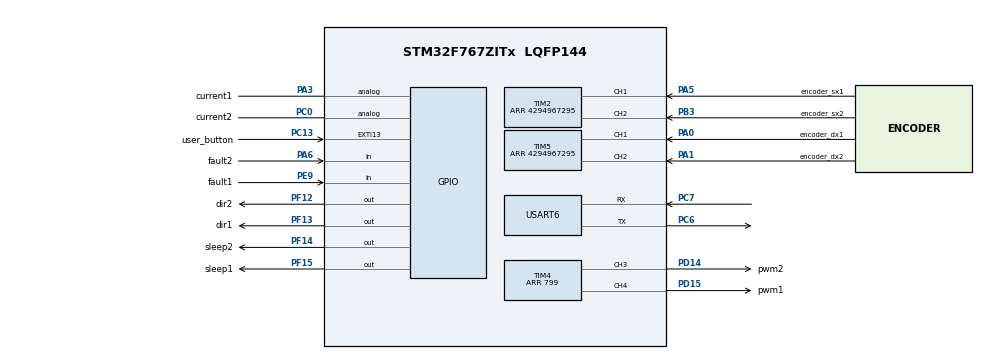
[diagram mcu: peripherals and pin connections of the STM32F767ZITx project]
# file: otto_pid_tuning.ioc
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Mcu.Family=STM32F7
Mcu.Name=STM32F767ZITx
Mcu.Package=LQFP144
NVIC.EXTI15_10_IRQn=true\:0\:0\:false\:false\:true\:true\:true
NVIC.PriorityGroup=NVIC_PRIORITYGROUP_2
NVIC.TIM3_IRQn=true\:2\:1\:true\:true\:true\:1\:true\:true
NVIC.TIM6_DAC_IRQn=true\:2\:2\:true\:true\:true\:2\:true\:true
NVIC.USART6_IRQn=true\:2\:0\:true\:true\:true\:3\:true\:true
PA0/WKUP.GPIO_Label=encoder_dx1
PA0/WKUP.Signal=S_TIM5_CH1
PA1.GPIO_Label=encoder_dx2
PA1.Signal=S_TIM5_CH2
PA13.Mode=Serial_Wire
PA13.Signal=SYS_JTMS-SWDIO
PA14.Mode=Serial_Wire
PA14.Signal=SYS_JTCK-SWCLK
PA3.GPIO_Label=current1
PA3.Signal=GPIO_Analog
PA5.GPIO_Label=encoder_sx1
PA5.Signal=S_TIM2_CH1_ETR
PA6.GPIO_Label=fault2
PA6.Signal=GPIO_Input
PB3.GPIO_Label=encoder_sx2
PB3.Signal=S_TIM2_CH2
PC0.GPIO_Label=current2
PC0.Signal=GPIO_Analog
PC13.GPIO_Label=user_button
PC13.Signal=GPXTI13
PC6.Mode=Asynchronous
PC6.Signal=USART6_TX
PC7.Mode=Asynchronous
PC7.Signal=USART6_RX
PD14.GPIO_Label=pwm2
PD14.Signal=S_TIM4_CH3
PD15.GPIO_Label=pwm1
PD15.Signal=S_TIM4_CH4
PE9.GPIO_Label=fault1
PE9.Signal=GPIO_Input
PF12.GPIO_Label=dir2
PF12.Signal=GPIO_Output
PF13.GPIO_Label=dir1
PF13.Signal=GPIO_Output
PF14.GPIO_Label=sleep2
PF14.GPIO_ModeDefaultOutputPP=GPIO_MODE_OUTPUT_PP
PF14.GPIO_PuPd=GPIO_PULLUP
PF14.PinState=GPIO_PIN_SET
PF14.Signal=GPIO_Output
PF15.GPIO_Label=sleep1
PF15.GPIO_PuPd=GPIO_PULLUP
PF15.PinState=GPIO_PIN_SET
PF15.Signal=GPIO_Output
ProjectManager.HeapSize=0x200
ProjectManager.StackSize=0x400
ProjectManager.TargetToolchain=STM32CubeIDE
RCC.HSE_VALUE=25000000
RCC.HSI_VALUE=16000000
RCC.LSE_VALUE=32768
RCC.USBFreq_Value=96000000
RCC.VCOOutputFreq_Value=192000000
SH.S_TIM2_CH1_ETR.0=TIM2_CH1,Encoder_Interface
SH.S_TIM2_CH2.0=TIM2_CH2,Encoder_Interface
SH.S_TIM4_CH3.0=TIM4_CH3,PWM Generation3 CH3
SH.S_TIM4_CH4.0=TIM4_CH4,PWM Generation4 CH4
SH.S_TIM5_CH1.0=TIM5_CH1,Encoder_Interface
SH.S_TIM5_CH2.0=TIM5_CH2,Encoder_Interface
TIM2.EncoderMode=TIM_ENCODERMODE_TI12
TIM2.Period=4294967295
TIM3.Period=159
TIM3.Prescaler=999
TIM4.Channel-PWM\ Generation3\ CH3=TIM_CHANNEL_3
TIM4.Channel-PWM\ Generation4\ CH4=TIM_CHANNEL_4
TIM4.Period=799
TIM5.EncoderMode=TIM_ENCODERMODE_TI12
TIM5.Period=4294967295
TIM6.Period=799
TIM6.Prescaler=9999
USART6.Parity=PARITY_NONE
USART6.VirtualMode-Asynchronous=VM_ASYNC
USART6.WordLength=WORDLENGTH_8B
VP_TIM3_VS_ClockSourceINT.Mode=Internal
VP_TIM4_VS_ClockSourceINT.Mode=Internal
VP_TIM6_VS_ClockSourceINT.Mode=Enable_Timer
board=custom

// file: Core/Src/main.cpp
/* USER CODE BEGIN Header */
/**
 ******************************************************************************
 * @file           : main.c
 * @brief          : Main program body
 ******************************************************************************
 * @attention
 *
 * <h2><center>&copy; Copyright (c) 2019 STMicroelectronics.
 * All rights reserved.</center></h2>
 *
 * This software component is licensed by ST under BSD 3-Clause license,
 * the "License"; You may not use this file except in compliance with the
 * License. You may obtain a copy of the License at:
 *                        opensource.org/licenses/BSD-3-Clause
 *
 ******************************************************************************
 */
/* USER CODE END Header */

#include "main.h"

/* USER CODE BEGIN Includes */

#include "encoder.h"
#include "odometry.h"
#include "motor_controller.h"
#include "pid.h"
#include "communication_utils.h"
#include "constants.h"
/* USER CODE END Includes */

TIM_HandleTypeDef htim2;
TIM_HandleTypeDef htim3;
TIM_HandleTypeDef htim4;
TIM_HandleTypeDef htim5;
TIM_HandleTypeDef htim6;

UART_HandleTypeDef huart6;

/* USER CODE BEGIN PV */

//Parameters
float baseline = 0.3;
int ticks_per_revolution = 148000;  //x4 resolution
float right_wheel_circumference = 0.783;  //in meters
float left_wheel_circumference = 0.789;  //in meters

//Odometry
Encoder right_encoder = Encoder(&htim5, right_wheel_circumference,
                                ticks_per_revolution);
Encoder left_encoder = Encoder(&htim2, left_wheel_circumference,
                               ticks_per_revolution);
Odometry odom = Odometry(baseline);
float left_velocity = 0;
float right_velocity = 0;

//PID
int pid_min = 0;
int pid_max = 0;

Pid left_pid(0, 0, 0, pid_min, pid_max);
Pid right_pid(0, 0, 0, pid_min, pid_max);
Pid cross_pid(0, 0, 0, pid_min, pid_max);
float left_setpoint;
float right_setpoint;
float cross_setpoint;
int left_dutycycle;
int right_dutycycle;

//MotorController
MotorController right_motor(sleep1_GPIO_Port,
sleep1_Pin,
                            dir1_GPIO_Port,
                            dir1_Pin,
                            &htim4, TIM_CHANNEL_4);
MotorController left_motor(sleep2_GPIO_Port,
sleep2_Pin,
                           dir2_GPIO_Port,
                           dir2_Pin,
                           &htim4, TIM_CHANNEL_3);

//Communication
uint8_t *tx_buffer;
uint8_t *rx_buffer;
pid_setup_msg input_msg;
plot_msg output_msg;

//user button variables
int previous_millis = 0;
int current_millis = 0;
bool debounce = true;

//test stuff
float mode = 0;  //0 for setup, 1 left pid, 2 right pid, 3 cross pid, 4 stop

/* USER CODE END PV */

void SystemClock_Config(void);
static void MX_GPIO_Init(void);
static void MX_TIM2_Init(void);
static void MX_TIM3_Init(void);
static void MX_TIM4_Init(void);
static void MX_TIM5_Init(void);
static void MX_USART6_UART_Init(void);
static void MX_TIM6_Init(void);
static void MX_NVIC_Init(void);

int main(void) {

  /* MCU Configuration--------------------------------------------------------*/

  /* Reset of all peripherals, Initializes the Flash interface and the Systick. */
  HAL_Init();

  /* Configure the system clock */
  SystemClock_Config();

  /* Initialize all configured peripherals */
  MX_GPIO_Init();
  MX_TIM2_Init();
  MX_TIM3_Init();
  MX_TIM4_Init();
  MX_TIM5_Init();
  MX_USART6_UART_Init();
  MX_TIM6_Init();

  /* Initialize interrupts */
  MX_NVIC_Init();
  /* USER CODE BEGIN 2 */

  left_encoder.Setup();
  right_encoder.Setup();

  left_motor.setup();
  right_motor.setup();

  //right and left motors have the same parameters
  pid_min = - left_motor.max_dutycycle_;
  pid_max = left_motor.max_dutycycle_;

  left_motor.coast();
  right_motor.coast();

  tx_buffer = (uint8_t*) &output_msg;
  rx_buffer = (uint8_t*) &input_msg;

  //Enables UART RX interrupt
  HAL_UART_Receive_IT(&huart6, rx_buffer, 28);

  /* USER CODE END 2 */

  /* Infinite loop */
  while (1) {

  }
}

void SystemClock_Config(void) {
  RCC_OscInitTypeDef RCC_OscInitStruct = { 0 };
  RCC_ClkInitTypeDef RCC_ClkInitStruct = { 0 };
  RCC_PeriphCLKInitTypeDef PeriphClkInitStruct = { 0 };

  /** Configure the main internal regulator output voltage
   */
  __HAL_RCC_PWR_CLK_ENABLE();
  __HAL_PWR_VOLTAGESCALING_CONFIG(PWR_REGULATOR_VOLTAGE_SCALE3);/** Initializes the CPU, AHB and APB busses clocks
   */
  RCC_OscInitStruct.OscillatorType = RCC_OSCILLATORTYPE_HSI;
  RCC_OscInitStruct.HSIState = RCC_HSI_ON;
  RCC_OscInitStruct.HSICalibrationValue = RCC_HSICALIBRATION_DEFAULT;
  RCC_OscInitStruct.PLL.PLLState = RCC_PLL_NONE;
  if (HAL_RCC_OscConfig(&RCC_OscInitStruct) != HAL_OK) {
    Error_Handler();
  }
  /** Initializes the CPU, AHB and APB busses clocks
   */
  RCC_ClkInitStruct.ClockType = RCC_CLOCKTYPE_HCLK | RCC_CLOCKTYPE_SYSCLK
      | RCC_CLOCKTYPE_PCLK1 | RCC_CLOCKTYPE_PCLK2;
  RCC_ClkInitStruct.SYSCLKSource = RCC_SYSCLKSOURCE_HSI;
  RCC_ClkInitStruct.AHBCLKDivider = RCC_SYSCLK_DIV1;
  RCC_ClkInitStruct.APB1CLKDivider = RCC_HCLK_DIV1;
  RCC_ClkInitStruct.APB2CLKDivider = RCC_HCLK_DIV1;

  if (HAL_RCC_ClockConfig(&RCC_ClkInitStruct, FLASH_LATENCY_0) != HAL_OK) {
    Error_Handler();
  }
  PeriphClkInitStruct.PeriphClockSelection = RCC_PERIPHCLK_USART6;
  PeriphClkInitStruct.Usart6ClockSelection = RCC_USART6CLKSOURCE_PCLK2;
  if (HAL_RCCEx_PeriphCLKConfig(&PeriphClkInitStruct) != HAL_OK) {
    Error_Handler();
  }
}

/**
 * @brief NVIC Configuration.
 * @retval None
 */
static void MX_NVIC_Init(void) {
  /* TIM3_IRQn interrupt configuration */
  HAL_NVIC_SetPriority(TIM3_IRQn, 2, 1);
  HAL_NVIC_EnableIRQ (TIM3_IRQn);
  /* TIM6_DAC_IRQn interrupt configuration */
  HAL_NVIC_SetPriority(TIM6_DAC_IRQn, 2, 2);
  HAL_NVIC_EnableIRQ (TIM6_DAC_IRQn);
  /* USART6_IRQn interrupt configuration */
  HAL_NVIC_SetPriority(USART6_IRQn, 2, 0);
  HAL_NVIC_EnableIRQ (USART6_IRQn);
}

static void MX_TIM2_Init(void) {

  TIM_Encoder_InitTypeDef sConfig = { 0 };
  TIM_MasterConfigTypeDef sMasterConfig = { 0 };

  htim2.Instance = TIM2;
  htim2.Init.Prescaler = 0;
  htim2.Init.CounterMode = TIM_COUNTERMODE_UP;
  htim2.Init.Period = 4294967295;
  htim2.Init.ClockDivision = TIM_CLOCKDIVISION_DIV1;
  htim2.Init.AutoReloadPreload = TIM_AUTORELOAD_PRELOAD_DISABLE;
  sConfig.EncoderMode = TIM_ENCODERMODE_TI12;
  sConfig.IC1Polarity = TIM_ICPOLARITY_RISING;
  sConfig.IC1Selection = TIM_ICSELECTION_DIRECTTI;
  sConfig.IC1Prescaler = TIM_ICPSC_DIV1;
  sConfig.IC1Filter = 0;
  sConfig.IC2Polarity = TIM_ICPOLARITY_RISING;
  sConfig.IC2Selection = TIM_ICSELECTION_DIRECTTI;
  sConfig.IC2Prescaler = TIM_ICPSC_DIV1;
  sConfig.IC2Filter = 0;
  if (HAL_TIM_Encoder_Init(&htim2, &sConfig) != HAL_OK) {
    Error_Handler();
  }
  sMasterConfig.MasterOutputTrigger = TIM_TRGO_RESET;
  sMasterConfig.MasterSlaveMode = TIM_MASTERSLAVEMODE_DISABLE;
  if (HAL_TIMEx_MasterConfigSynchronization(&htim2, &sMasterConfig) != HAL_OK) {
    Error_Handler();
  }

}

static void MX_TIM3_Init(void) {

  TIM_ClockConfigTypeDef sClockSourceConfig = { 0 };
  TIM_MasterConfigTypeDef sMasterConfig = { 0 };

  htim3.Instance = TIM3;
  htim3.Init.Prescaler = 999;
  htim3.Init.CounterMode = TIM_COUNTERMODE_UP;
  htim3.Init.Period = 159;
  htim3.Init.ClockDivision = TIM_CLOCKDIVISION_DIV1;
  htim3.Init.AutoReloadPreload = TIM_AUTORELOAD_PRELOAD_DISABLE;
  if (HAL_TIM_Base_Init(&htim3) != HAL_OK) {
    Error_Handler();
  }
  sClockSourceConfig.ClockSource = TIM_CLOCKSOURCE_INTERNAL;
  if (HAL_TIM_ConfigClockSource(&htim3, &sClockSourceConfig) != HAL_OK) {
    Error_Handler();
  }
  sMasterConfig.MasterOutputTrigger = TIM_TRGO_RESET;
  sMasterConfig.MasterSlaveMode = TIM_MASTERSLAVEMODE_DISABLE;
  if (HAL_TIMEx_MasterConfigSynchronization(&htim3, &sMasterConfig) != HAL_OK) {
    Error_Handler();
  }

}

static void MX_TIM4_Init(void) {

  TIM_ClockConfigTypeDef sClockSourceConfig = { 0 };
  TIM_MasterConfigTypeDef sMasterConfig = { 0 };
  TIM_OC_InitTypeDef sConfigOC = { 0 };

  htim4.Instance = TIM4;
  htim4.Init.Prescaler = 0;
  htim4.Init.CounterMode = TIM_COUNTERMODE_UP;
  htim4.Init.Period = 799;
  htim4.Init.ClockDivision = TIM_CLOCKDIVISION_DIV1;
  htim4.Init.AutoReloadPreload = TIM_AUTORELOAD_PRELOAD_DISABLE;
  if (HAL_TIM_Base_Init(&htim4) != HAL_OK) {
    Error_Handler();
  }
  sClockSourceConfig.ClockSource = TIM_CLOCKSOURCE_INTERNAL;
  if (HAL_TIM_ConfigClockSource(&htim4, &sClockSourceConfig) != HAL_OK) {
    Error_Handler();
  }
  if (HAL_TIM_PWM_Init(&htim4) != HAL_OK) {
    Error_Handler();
  }
  sMasterConfig.MasterOutputTrigger = TIM_TRGO_RESET;
  sMasterConfig.MasterSlaveMode = TIM_MASTERSLAVEMODE_DISABLE;
  if (HAL_TIMEx_MasterConfigSynchronization(&htim4, &sMasterConfig) != HAL_OK) {
    Error_Handler();
  }
  sConfigOC.OCMode = TIM_OCMODE_PWM1;
  sConfigOC.Pulse = 0;
  sConfigOC.OCPolarity = TIM_OCPOLARITY_HIGH;
  sConfigOC.OCFastMode = TIM_OCFAST_DISABLE;
  if (HAL_TIM_PWM_ConfigChannel(&htim4, &sConfigOC, TIM_CHANNEL_3) != HAL_OK) {
    Error_Handler();
  }
  if (HAL_TIM_PWM_ConfigChannel(&htim4, &sConfigOC, TIM_CHANNEL_4) != HAL_OK) {
    Error_Handler();
  }
  HAL_TIM_MspPostInit(&htim4);

}

static void MX_TIM5_Init(void) {

  TIM_Encoder_InitTypeDef sConfig = { 0 };
  TIM_MasterConfigTypeDef sMasterConfig = { 0 };

  htim5.Instance = TIM5;
  htim5.Init.Prescaler = 0;
  htim5.Init.CounterMode = TIM_COUNTERMODE_UP;
  htim5.Init.Period = 4294967295;
  htim5.Init.ClockDivision = TIM_CLOCKDIVISION_DIV1;
  htim5.Init.AutoReloadPreload = TIM_AUTORELOAD_PRELOAD_DISABLE;
  sConfig.EncoderMode = TIM_ENCODERMODE_TI12;
  sConfig.IC1Polarity = TIM_ICPOLARITY_RISING;
  sConfig.IC1Selection = TIM_ICSELECTION_DIRECTTI;
  sConfig.IC1Prescaler = TIM_ICPSC_DIV1;
  sConfig.IC1Filter = 0;
  sConfig.IC2Polarity = TIM_ICPOLARITY_RISING;
  sConfig.IC2Selection = TIM_ICSELECTION_DIRECTTI;
  sConfig.IC2Prescaler = TIM_ICPSC_DIV1;
  sConfig.IC2Filter = 0;
  if (HAL_TIM_Encoder_Init(&htim5, &sConfig) != HAL_OK) {
    Error_Handler();
  }
  sMasterConfig.MasterOutputTrigger = TIM_TRGO_RESET;
  sMasterConfig.MasterSlaveMode = TIM_MASTERSLAVEMODE_DISABLE;
  if (HAL_TIMEx_MasterConfigSynchronization(&htim5, &sMasterConfig) != HAL_OK) {
    Error_Handler();
  }

}

static void MX_TIM6_Init(void) {

  TIM_MasterConfigTypeDef sMasterConfig = { 0 };

  htim6.Instance = TIM6;
  htim6.Init.Prescaler = 9999;
  htim6.Init.CounterMode = TIM_COUNTERMODE_UP;
  htim6.Init.Period = 799;
  htim6.Init.AutoReloadPreload = TIM_AUTORELOAD_PRELOAD_DISABLE;
  if (HAL_TIM_Base_Init(&htim6) != HAL_OK) {
    Error_Handler();
  }
  sMasterConfig.MasterOutputTrigger = TIM_TRGO_RESET;
  sMasterConfig.MasterSlaveMode = TIM_MASTERSLAVEMODE_DISABLE;
  if (HAL_TIMEx_MasterConfigSynchronization(&htim6, &sMasterConfig) != HAL_OK) {
    Error_Handler();
  }

}

static void MX_USART6_UART_Init(void) {

  huart6.Instance = USART6;
  huart6.Init.BaudRate = 115200;
  huart6.Init.WordLength = UART_WORDLENGTH_8B;
  huart6.Init.StopBits = UART_STOPBITS_1;
  huart6.Init.Parity = UART_PARITY_NONE;
  huart6.Init.Mode = UART_MODE_TX_RX;
  huart6.Init.HwFlowCtl = UART_HWCONTROL_NONE;
  huart6.Init.OverSampling = UART_OVERSAMPLING_16;
  huart6.Init.OneBitSampling = UART_ONE_BIT_SAMPLE_DISABLE;
  huart6.AdvancedInit.AdvFeatureInit = UART_ADVFEATURE_NO_INIT;
  if (HAL_UART_Init(&huart6) != HAL_OK) {
    Error_Handler();
  }

}

static void MX_GPIO_Init(void) {
  GPIO_InitTypeDef GPIO_InitStruct = { 0 };

  /* GPIO Ports Clock Enable */
  __HAL_RCC_GPIOC_CLK_ENABLE();
  __HAL_RCC_GPIOA_CLK_ENABLE();
  __HAL_RCC_GPIOF_CLK_ENABLE();
  __HAL_RCC_GPIOE_CLK_ENABLE();
  __HAL_RCC_GPIOD_CLK_ENABLE();
  __HAL_RCC_GPIOB_CLK_ENABLE();

  /*Configure GPIO pin Output Level */
  HAL_GPIO_WritePin(GPIOF, dir2_Pin | dir1_Pin, GPIO_PIN_RESET);

  /*Configure GPIO pin Output Level */
  HAL_GPIO_WritePin(GPIOF, sleep2_Pin | sleep1_Pin, GPIO_PIN_SET);

  /*Configure GPIO pin : user_button_Pin */
  GPIO_InitStruct.Pin = user_button_Pin;
  GPIO_InitStruct.Mode = GPIO_MODE_IT_RISING;
  GPIO_InitStruct.Pull = GPIO_NOPULL;
  HAL_GPIO_Init(user_button_GPIO_Port, &GPIO_InitStruct);

  /*Configure GPIO pin : current2_Pin */
  GPIO_InitStruct.Pin = current2_Pin;
  GPIO_InitStruct.Mode = GPIO_MODE_ANALOG;
  GPIO_InitStruct.Pull = GPIO_NOPULL;
  HAL_GPIO_Init(current2_GPIO_Port, &GPIO_InitStruct);

  /*Configure GPIO pin : current1_Pin */
  GPIO_InitStruct.Pin = current1_Pin;
  GPIO_InitStruct.Mode = GPIO_MODE_ANALOG;
  GPIO_InitStruct.Pull = GPIO_NOPULL;
  HAL_GPIO_Init(current1_GPIO_Port, &GPIO_InitStruct);

  /*Configure GPIO pin : fault2_Pin */
  GPIO_InitStruct.Pin = fault2_Pin;
  GPIO_InitStruct.Mode = GPIO_MODE_INPUT;
  GPIO_InitStruct.Pull = GPIO_NOPULL;
  HAL_GPIO_Init(fault2_GPIO_Port, &GPIO_InitStruct);

  /*Configure GPIO pins : dir2_Pin dir1_Pin */
  GPIO_InitStruct.Pin = dir2_Pin | dir1_Pin;
  GPIO_InitStruct.Mode = GPIO_MODE_OUTPUT_PP;
  GPIO_InitStruct.Pull = GPIO_NOPULL;
  GPIO_InitStruct.Speed = GPIO_SPEED_FREQ_LOW;
  HAL_GPIO_Init(GPIOF, &GPIO_InitStruct);

  /*Configure GPIO pins : sleep2_Pin sleep1_Pin */
  GPIO_InitStruct.Pin = sleep2_Pin | sleep1_Pin;
  GPIO_InitStruct.Mode = GPIO_MODE_OUTPUT_PP;
  GPIO_InitStruct.Pull = GPIO_PULLUP;
  GPIO_InitStruct.Speed = GPIO_SPEED_FREQ_LOW;
  HAL_GPIO_Init(GPIOF, &GPIO_InitStruct);

  /*Configure GPIO pin : fault1_Pin */
  GPIO_InitStruct.Pin = fault1_Pin;
  GPIO_InitStruct.Mode = GPIO_MODE_INPUT;
  GPIO_InitStruct.Pull = GPIO_NOPULL;
  HAL_GPIO_Init(fault1_GPIO_Port, &GPIO_InitStruct);

  /* EXTI interrupt init*/
  HAL_NVIC_SetPriority(EXTI15_10_IRQn, 0, 0);
  HAL_NVIC_EnableIRQ (EXTI15_10_IRQn);

}

/* USER CODE BEGIN 4 */
void HAL_TIM_PeriodElapsedCallback(TIM_HandleTypeDef *htim) {

  //TIMER 100Hz PID control
  if (htim->Instance == TIM3) {

    if (mode == 1) {
      left_velocity = left_encoder.GetLinearVelocity();
      output_msg.velocity = left_velocity;
      left_dutycycle = left_pid.update(left_velocity);
      left_motor.set_speed(left_dutycycle);
      HAL_UART_Transmit(&huart6, tx_buffer, 4, 100);

    }
    if (mode == 2) {
      right_velocity = right_encoder.GetLinearVelocity();
      output_msg.velocity = right_velocity;
      right_dutycycle = right_pid.update(right_velocity);
      right_motor.set_speed(right_dutycycle);
      HAL_UART_Transmit(&huart6, tx_buffer, 4, 100);
    }
    if (mode == 3) {

      left_velocity = left_encoder.GetLinearVelocity();
      left_dutycycle = left_pid.update(left_velocity);
      left_motor.set_speed(left_dutycycle);

      right_velocity = right_encoder.GetLinearVelocity();
      right_dutycycle = right_pid.update(right_velocity);
      right_motor.set_speed(right_dutycycle);

      float difference = left_velocity - right_velocity;

      int cross_dutycycle = cross_pid.update(difference);

      left_dutycycle += cross_dutycycle;
      right_dutycycle -= cross_dutycycle;

      output_msg.velocity = difference;
      HAL_UART_Transmit(&huart6, tx_buffer, 4, 100);

    }

  }

  //TIMER 2Hz Transmit
  if (htim->Instance == TIM6) {
  }
}

void HAL_UART_RxCpltCallback(UART_HandleTypeDef *UartHandle) {

  if (input_msg.pid_select == 1) {

    left_pid.config(input_msg.pid_kp, input_msg.pid_ki, input_msg.pid_kd,
                    pid_min, pid_max);
    left_pid.set(input_msg.pid_setpoint_fixed);

  } else if (input_msg.pid_select == 2) {
    right_pid.config(input_msg.pid_kp, input_msg.pid_ki, input_msg.pid_kd,
                     pid_min, pid_max);
    right_pid.set(input_msg.pid_setpoint_fixed);

  } else if (input_msg.pid_select == 3) {
    left_pid.config(180, 200, 0, pid_min, pid_max);
    right_pid.config(185, 195, 0, pid_min, pid_max);

    cross_pid.config(input_msg.pid_kp, input_msg.pid_ki, input_msg.pid_kd,
                     pid_min, pid_max);

    odom.UpdateValues(input_msg.pid_setpoint_lin, input_msg.pid_setpoint_ang);

    left_setpoint = input_msg.pid_setpoint_lin
        - (BASELINE * input_msg.pid_setpoint_ang) / 2;
    right_setpoint = 2 * input_msg.pid_setpoint_lin - left_setpoint;

    left_pid.set(left_setpoint);
    right_pid.set(right_setpoint);

    cross_setpoint = left_setpoint - right_setpoint;
    cross_pid.set(cross_setpoint);
  }

}

void HAL_GPIO_EXTI_Callback(uint16_t GPIO_Pin) {
  //Blue user button
  if (GPIO_Pin == GPIO_PIN_13) {
    previous_millis = current_millis;
    current_millis = HAL_GetTick();
    if (current_millis - previous_millis < 200)
      debounce = false;
    else
      debounce = true;
    if (mode == 0 && debounce) {
      mode = input_msg.pid_select;
      //Enables TIM3 interrupt (used for PID control)
      HAL_TIM_Base_Start_IT(&htim3);
    }
  }
}
/* USER CODE END 4 */

void Error_Handler(void) {
}

/************************ (C) COPYRIGHT STMicroelectronics *****END OF FILE****/
